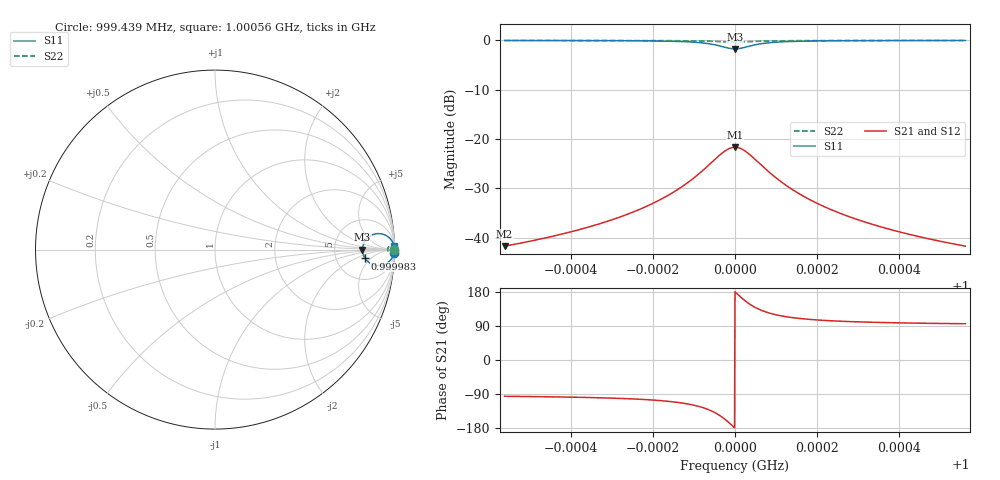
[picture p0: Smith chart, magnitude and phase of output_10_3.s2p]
! File generated for n1 = 10, n2 = 3
! b1 = 0.100000
! b2 = 0.021544
! Q0 = 10000.000000
! f0 = 1000000000.000000
! n = 1001
! rel_span = 10.000000
# Hz S RI R 50
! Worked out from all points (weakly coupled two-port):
!   1001 points, 999.439 MHz to 1.00056 GHz, reference 50 ohm
!   highest |S21| = -21.64 dB at 1 GHz (marker M1); lowest = -41.7 dB at 999.439 MHz (marker M2)
!   lowest |S11| = -1.7 dB at 1 GHz (marker M3), VSWR 10.22, Z = 511 + j0 ohm
!   |S11| at or under -10 dB: nowhere
!   |S22| runs from -0.3 to 0.0 dB; largest |S21 - S12| = 0
!   S11 on the Smith chart (normalised r, x): 999.439 MHz: open; 999.983 MHz: 10, -3; 1.00056 GHz: open
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9.994392e8  0.9982 -0.0177  -0.000819 -0.00819  -0.000819 -0.00819  0.9996 -0.0038
9.995357e8  0.9974 -0.0212  -0.00119 -0.00985  -0.00119 -0.00985  0.9994 -0.00457
9.996265e8  0.9961 -0.0262  -0.00182 -0.0122  -0.00182 -0.0122  0.9992 -0.00564
9.997297e8  0.9926 -0.0355  -0.00341 -0.0165  -0.00341 -0.0165  0.9984 -0.00764
9.998138e8  0.9852 -0.0492  -0.00688 -0.0229  -0.00688 -0.0229  0.9968 -0.0106
9.998677e8  0.9729 -0.0641  -0.0126 -0.0297  -0.0126 -0.0297  0.9942 -0.0138
9.999148e8  0.9461 -0.0819  -0.025 -0.038  -0.025 -0.038  0.9884 -0.0176
9.999563e8  0.8891 -0.0865  -0.0515 -0.0401  -0.0515 -0.0401  0.9761 -0.0186
9.999697e8  0.8619 -0.0746  -0.0641 -0.0346  -0.0641 -0.0346  0.9703 -0.0161
9.999832e8  0.8364 -0.0491  -0.0759 -0.0228  -0.0759 -0.0228  0.9648 -0.0106
1e9  0.8217 0  -0.0828 0  -0.0828 0  0.9616 0
1.00001e9  0.8273 0.0311  -0.0802 0.0144  -0.0802 0.0144  0.9628 0.0067
1.000021e9  0.8442 0.0592  -0.0723 0.0275  -0.0723 0.0275  0.9664 0.0128
1.000049e9  0.8995 0.0884  -0.0466 0.041  -0.0466 0.041  0.9783 0.0191
1.00008e9  0.9409 0.0839  -0.0274 0.039  -0.0274 0.039  0.9873 0.0181
1.000117e9  0.9665 0.0696  -0.0155 0.0323  -0.0155 0.0323  0.9928 0.015
1.00015e9  0.9782 0.0584  -0.0101 0.0271  -0.0101 0.0271  0.9953 0.0126
1.000187e9  0.9853 0.049  -0.00681 0.0227  -0.00681 0.0227  0.9968 0.0106
1.000271e9  0.9927 0.0353  -0.00339 0.0164  -0.00339 0.0164  0.9984 0.00761
1.000375e9  0.9961 0.0261  -0.00181 0.0121  -0.00181 0.0121  0.9992 0.00563
1.000465e9  0.9974 0.0212  -0.00118 0.00983  -0.00118 0.00983  0.9995 0.00456
1.000561e9  0.9982 0.0177  -0.00082 0.0082  -0.00082 0.0082  0.9996 0.0038
